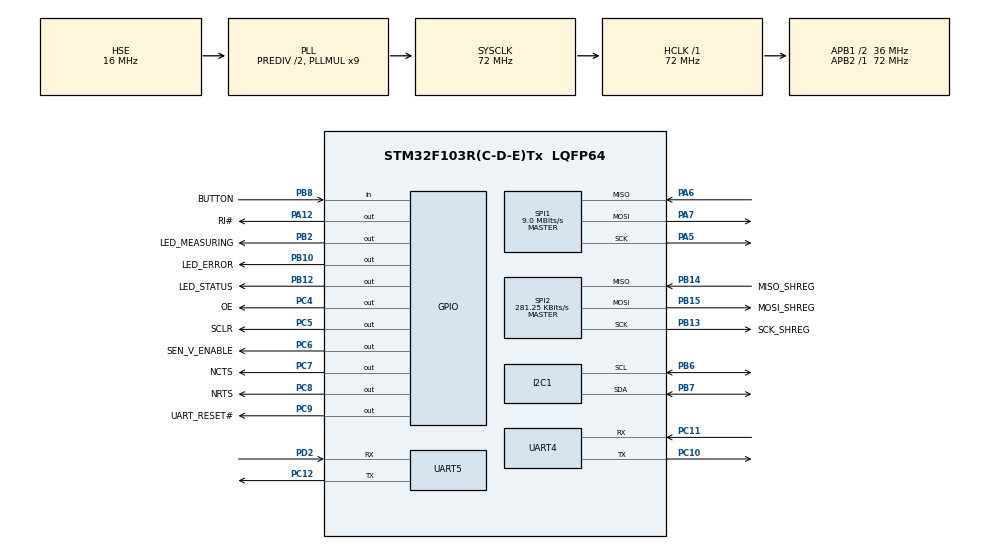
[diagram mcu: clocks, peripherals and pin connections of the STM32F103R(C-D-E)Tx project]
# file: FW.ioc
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Dma.Request0=UART4_TX
Dma.UART4_TX.0.Direction=DMA_MEMORY_TO_PERIPH
Dma.UART4_TX.0.Instance=DMA2_Channel5
Dma.UART4_TX.0.MemDataAlignment=DMA_MDATAALIGN_BYTE
Dma.UART4_TX.0.MemInc=DMA_MINC_ENABLE
Dma.UART4_TX.0.Mode=DMA_NORMAL
Dma.UART4_TX.0.PeriphDataAlignment=DMA_PDATAALIGN_BYTE
Dma.UART4_TX.0.PeriphInc=DMA_PINC_DISABLE
Dma.UART4_TX.0.Priority=DMA_PRIORITY_LOW
Mcu.Family=STM32F1
Mcu.Name=STM32F103R(C-D-E)Tx
Mcu.Package=LQFP64
NVIC.DMA2_Channel4_5_IRQn=true\:0\:0\:false\:false\:true\:false\:true\:true
NVIC.PriorityGroup=NVIC_PRIORITYGROUP_4
PA12.GPIO_Label=RI\#
PA12.Signal=GPIO_Output
PA13.Mode=Trace_Asynchronous_SW
PA13.Signal=SYS_JTMS-SWDIO
PA14.Mode=Trace_Asynchronous_SW
PA14.Signal=SYS_JTCK-SWCLK
PA5.GPIO_Mode=GPIO_MODE_AF_PP
PA5.GPIO_Speed=GPIO_SPEED_FREQ_HIGH
PA5.Mode=Full_Duplex_Master
PA5.Signal=SPI1_SCK
PA6.GPIO_Mode=GPIO_MODE_INPUT
PA6.GPIO_PuPd=GPIO_NOPULL
PA6.Mode=Full_Duplex_Master
PA6.Signal=SPI1_MISO
PA7.GPIO_Mode=GPIO_MODE_AF_PP
PA7.GPIO_Speed=GPIO_SPEED_FREQ_HIGH
PA7.Mode=Full_Duplex_Master
PA7.Signal=SPI1_MOSI
PB10.GPIO_Label=LED_ERROR
PB10.Signal=GPIO_Output
PB12.GPIO_Label=LED_STATUS
PB12.Signal=GPIO_Output
PB13.GPIO_Label=SCK_SHREG
PB13.Mode=Full_Duplex_Master
PB13.Signal=SPI2_SCK
PB14.GPIO_Label=MISO_SHREG
PB14.Mode=Full_Duplex_Master
PB14.Signal=SPI2_MISO
PB15.GPIO_Label=MOSI_SHREG
PB15.Mode=Full_Duplex_Master
PB15.Signal=SPI2_MOSI
PB2.GPIO_Label=LED_MEASURING
PB2.Signal=GPIO_Output
PB3.Mode=Trace_Asynchronous_SW
PB3.Signal=SYS_JTDO-TRACESWO
PB6.Mode=I2C
PB6.Signal=I2C1_SCL
PB7.Mode=I2C
PB7.Signal=I2C1_SDA
PB8.GPIO_Label=BUTTON
PB8.Signal=GPIO_Input
PC10.Mode=Asynchronous
PC10.Signal=UART4_TX
PC11.Mode=Asynchronous
PC11.Signal=UART4_RX
PC12.Mode=Asynchronous
PC12.Signal=UART5_TX
PC4.GPIO_Label=OE
PC4.GPIO_PuPd=GPIO_NOPULL
PC4.Signal=GPIO_Output
PC5.GPIO_Label=SCLR
PC5.GPIO_PuPd=GPIO_NOPULL
PC5.Signal=GPIO_Output
PC6.GPIO_Label=SEN_V_ENABLE
PC6.Signal=GPIO_Output
PC7.GPIO_Label=NCTS
PC7.PinState=GPIO_PIN_SET
PC7.Signal=GPIO_Output
PC8.GPIO_Label=NRTS
PC8.PinState=GPIO_PIN_SET
PC8.Signal=GPIO_Output
PC9.GPIO_Label=UART_RESET\#
PC9.PinState=GPIO_PIN_SET
PC9.Signal=GPIO_Output
PD0-OSC_IN.Mode=HSE-External-Oscillator
PD0-OSC_IN.Signal=RCC_OSC_IN
PD1-OSC_OUT.Mode=HSE-External-Oscillator
PD1-OSC_OUT.Signal=RCC_OSC_OUT
PD2.Mode=Asynchronous
PD2.Signal=UART5_RX
ProjectManager.HeapSize=0x200
ProjectManager.StackSize=0x400
ProjectManager.TargetToolchain=STM32CubeIDE
RCC.AHBFreq_Value=72000000
RCC.APB1CLKDivider=RCC_HCLK_DIV2
RCC.APB1Freq_Value=36000000
RCC.APB1TimFreq_Value=72000000
RCC.APB2Freq_Value=72000000
RCC.APB2TimFreq_Value=72000000
RCC.HCLKFreq_Value=72000000
RCC.HSEDivPLL=RCC_HSE_PREDIV_DIV2
RCC.HSE_VALUE=16000000
RCC.PLLMUL=RCC_PLL_MUL9
RCC.PLLSourceVirtual=RCC_PLLSOURCE_HSE
RCC.SYSCLKFreq_VALUE=72000000
RCC.SYSCLKSource=RCC_SYSCLKSOURCE_PLLCLK
RCC.USBFreq_Value=72000000
SPI1.BaudRatePrescaler=SPI_BAUDRATEPRESCALER_8
SPI1.CalculateBaudRate=9.0 MBits/s
SPI1.DataSize=SPI_DATASIZE_8BIT
SPI1.Direction=SPI_DIRECTION_2LINES
SPI1.Mode=SPI_MODE_MASTER
SPI1.VirtualType=VM_MASTER
SPI2.BaudRatePrescaler=SPI_BAUDRATEPRESCALER_128
SPI2.CalculateBaudRate=281.25 KBits/s
SPI2.DataSize=SPI_DATASIZE_8BIT
SPI2.Direction=SPI_DIRECTION_2LINES
SPI2.FirstBit=SPI_FIRSTBIT_LSB
SPI2.Mode=SPI_MODE_MASTER
SPI2.VirtualType=VM_MASTER
UART4.VirtualMode=Asynchronous
UART5.VirtualMode=Asynchronous
board=custom

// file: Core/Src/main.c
/* USER CODE BEGIN Header */
/**
  ******************************************************************************
  * @file           : main.c
  * @brief          : Main program body
  ******************************************************************************
  * @attention
  *
  * Copyright (c) 2023 STMicroelectronics.
  * All rights reserved.
  *
  * This software is licensed under terms that can be found in the LICENSE file
  * in the root directory of this software component.
  * If no LICENSE file comes with this software, it is provided AS-IS.
  *
  ******************************************************************************
  */
/* USER CODE END Header */
#include "main.h"
#include "dma.h"
#include "i2c.h"
#include "spi.h"
#include "usart.h"
#include "gpio.h"

/* USER CODE BEGIN Includes */
#include "spi_handler.h"
#include "sensors.h"
#include "uart_bridge.h"
/* USER CODE END Includes */

/* USER CODE BEGIN PD */
#define NUM_OF_SENSORS 8
#define NUM_OF_AXIS 2

/* USER CODE END PD */

void SystemClock_Config(void);

int main(void)
{
  /* USER CODE BEGIN 1 */
	//int16_t x_ch_result=0;

	//int32_t x_B=0;
	//uint16_t conv_status=0;
	//uint8_t rdy=0;
	//uint8_t xIsCurrent=0;

	//uint8_t message[2] = {0};
	//int i =0;

  /* USER CODE END 1 */

  /* MCU Configuration--------------------------------------------------------*/

  /* Reset of all peripherals, Initializes the Flash interface and the Systick. */
  HAL_Init();

  /* Configure the system clock */
  SystemClock_Config();

  /* Initialize all configured peripherals */
  MX_GPIO_Init();
  MX_DMA_Init();
  MX_I2C1_Init();
  MX_UART4_Init();
  MX_UART5_Init();
  MX_SPI1_Init();
  MX_SPI2_Init();
  /* USER CODE BEGIN 2 */

  //Sensor sen1 = sensor_init(8);
 // if(sen1.ok){
//	  while(1)
//	  {
//		  HAL_UART_Receive(&huart4, &flag, 1, HAL_MAX_DELAY);
//
//		  while(1)
//		  {
//			  conv_status = read_register(&sen1, CONV_STATUS);
//			  rdy = (conv_status&(1<<13)) ? 1:0;
//			  xIsCurrent = (conv_status&(1<<8)) ? 1:0;
//			  if(rdy&&xIsCurrent)
//			  {
//				  break;
//			  }
//		  }
//
//		  if(rdy&&xIsCurrent)
//		  {
//			  measuringLED();
//			  x_ch_result = read_register(&sen1, X_CH_RESULT);
//			  x_B = ((int32_t)x_ch_result)*lsb;
//
//			  message[0] = (x_B >> 24) & 0xFF;
//			  message[1] = (x_B >> 16) & 0xFF;
//			  message[2] = (x_B >> 8) & 0xFF;
//			  message[3] = x_B & 0xFF;
//
//			  HAL_UART_Transmit(&huart4, message, 4, 10);
//			  //HAL_Delay(10);
//			  i++;
//		  }
//
//	  }
  	  uint16_t conv_status = 0;
  	  uint8_t rdy = 0;
  	  uint8_t dataAreCurrent= 0;
  	  uint8_t num_of_sensors = 8;
  	  Sensor* sensors = (Sensor*)malloc(sizeof(Sensor)*num_of_sensors);

  	  sensor_power_on();
  	  HAL_Delay(250);

  	  deactivateSCLR();
  	  HAL_Delay(250);

  	  for(int i = 0; i<(num_of_sensors); i++)
  	  {
  		  if(i==3)continue;

  		  sensors[i] = sensor_init(i+1);
  		  if(!(sensors[i].ok))
  		  {
  			  while(1)
  			  {
  				  errorLED();
  				  HAL_Delay(200);
  			  }
  		  }
  	  }

	  while(1)
	  {
		  uint8_t flag=0;

		  for(int i=0;i<(num_of_sensors);i++)
		  {
			  HAL_UART_Receive(&huart4, &flag, 1, HAL_MAX_DELAY);
			  //if(i==3)continue;
			  if(sensors[6].ok)
			  {
				  do{
					  conv_status = read_register(&sensors[6], CONV_STATUS);
					  rdy = conv_status&(1<<13) ? 1:0;
					  dataAreCurrent= conv_status&(0x07<<8) ? 1:0;
				  }while(!(dataAreCurrent&&rdy));

				  int32_t lsb = (2*RANGE*1000000)/(1<<16); //LSB in nT
				  measuringLED();

				  int16_t x_result = read_register(&sensors[6],X_CH_RESULT);
				  int16_t y_result = read_register(&sensors[6],Y_CH_RESULT);
				  int16_t z_result = read_register(&sensors[6],Z_CH_RESULT);

				  sensors[6].measured_data.x_B = ((int32_t)x_result)*lsb;
				  sensors[6].measured_data.y_B = ((int32_t)y_result)*lsb;
				  sensors[6].measured_data.z_B = ((int32_t)z_result)*lsb;

//				  sensors[7].measured_data.x_B = (int32_t)(51);
//				  sensors[7].measured_data.y_B = (int32_t)(52);
//				  sensors[7].measured_data.z_B = (int32_t)(53);

				  uint8_t* message = (uint8_t*)malloc(sizeof(MeasuredData));
				  if(message==NULL) errorLED();
				  memcpy(message,&(sensors[6].measured_data),sizeof(MeasuredData));
				  HAL_UART_Transmit(&huart4, message, sizeof(MeasuredData), HAL_MAX_DELAY);
				  free(message);
			  }
			  else
			  {
				  while(1)
				  {
					  errorLED();
				  }
			  }
		  }
	  }
  	  free(sensors);

// -----Konzultace s Lufinkou----------------
/*----------Select Sensor-------------*/
  /*
  sensor_power_on();
  set_sh_reg_OE(1);
  sen1.adr = 1;
  select_sensor(sen1.adr);
  HAL_Delay(1);
  set_sh_reg_OE(0);
*/
  //sen1 = sensor_init(0x02);
  //HAL_SPI_Transmit(&hspi1, crc_disable, 4, 50);
  //crc_disable[0] = 0x8F;
  //uint8_t crc = calc_crc(0x0F, 0);
  //uint8_t adress[4] = {0x8F,0,0,crc};

  /*-----Disable CRC ----------------------------
  uint8_t crc_disable[4] = {0x0F,0x00,0x04,0x07};
  HAL_SPI_TransmitReceive(&hspi1, crc_disable, reg_data, 4, 50);
  HAL_Delay(1);
----------------------------------------------------------*/

  /*---------Select another sensor--------------
  clear_sh_reg();
  set_sh_reg_OE(1);
  sen1.adr = 0;
  select_sensor(sen1.adr);
  HAL_Delay(1);
  set_sh_reg_OE(0);

  clear_sh_reg();
  set_sh_reg_OE(1);
  sen1.adr = 8;
  select_sensor(sen1.adr);
  HAL_Delay(1);
  set_sh_reg_OE(0);

  ----------------------------------------------*/

  /*----------------Read Sensor----------------
  crc_disable[0] = 0x8F;
  crc_disable[1] = 0;
  crc_disable[2] = 0;
  crc_disable[3] = 0;
  HAL_SPI_TransmitReceive(&hspi1,crc_disable ,reg_data , 4, 50);
  HAL_Delay(1);

  clear_sh_reg();
  set_sh_reg_OE(1);
  sen1.adr = 0;
  select_sensor(sen1.adr);
  HAL_Delay(1);
  set_sh_reg_OE(0);
---------------------------------------------------*/

  //uint16_t result = reg_data[1] + reg_data[2];
  //adress[0] = 0x0F;
  //crc_disable[3] = calc_crc(adress[0], &crc_disable[2]);
//  HAL_SPI_Transmit(&hspi1,crc_disable, 4, 50);
//  adress[0] = 0x8F;
//  HAL_SPI_TransmitReceive(&hspi1, adress, reg_data, 4, 50);
//  result = reg_data[1] + reg_data[2];

  //reg_data = spi_read_reg(sen1.DEVICE_CONFIG.adr, &stat);
  //displayTempData(reg_data);

  /* USER CODE END 2 */

  /* Infinite loop */
  /* USER CODE BEGIN WHILE */
  while (1)
  {
	  HAL_GPIO_TogglePin(LED_MEASURING_GPIO_Port, LED_MEASURING_Pin);
	  HAL_Delay(500);

    /* USER CODE END WHILE */

  }
}

void SystemClock_Config(void)
{
  RCC_OscInitTypeDef RCC_OscInitStruct = {0};
  RCC_ClkInitTypeDef RCC_ClkInitStruct = {0};

  /** Initializes the RCC Oscillators according to the specified parameters
  * in the RCC_OscInitTypeDef structure.
  */
  RCC_OscInitStruct.OscillatorType = RCC_OSCILLATORTYPE_HSE;
  RCC_OscInitStruct.HSEState = RCC_HSE_ON;
  RCC_OscInitStruct.HSEPredivValue = RCC_HSE_PREDIV_DIV2;
  RCC_OscInitStruct.HSIState = RCC_HSI_ON;
  RCC_OscInitStruct.PLL.PLLState = RCC_PLL_ON;
  RCC_OscInitStruct.PLL.PLLSource = RCC_PLLSOURCE_HSE;
  RCC_OscInitStruct.PLL.PLLMUL = RCC_PLL_MUL9;
  if (HAL_RCC_OscConfig(&RCC_OscInitStruct) != HAL_OK)
  {
    Error_Handler();
  }

  /** Initializes the CPU, AHB and APB buses clocks
  */
  RCC_ClkInitStruct.ClockType = RCC_CLOCKTYPE_HCLK|RCC_CLOCKTYPE_SYSCLK
                              |RCC_CLOCKTYPE_PCLK1|RCC_CLOCKTYPE_PCLK2;
  RCC_ClkInitStruct.SYSCLKSource = RCC_SYSCLKSOURCE_PLLCLK;
  RCC_ClkInitStruct.AHBCLKDivider = RCC_SYSCLK_DIV1;
  RCC_ClkInitStruct.APB1CLKDivider = RCC_HCLK_DIV2;
  RCC_ClkInitStruct.APB2CLKDivider = RCC_HCLK_DIV1;

  if (HAL_RCC_ClockConfig(&RCC_ClkInitStruct, FLASH_LATENCY_2) != HAL_OK)
  {
    Error_Handler();
  }
}

void Error_Handler(void)
{
  __disable_irq();
  while (1)
  {
  }
}
